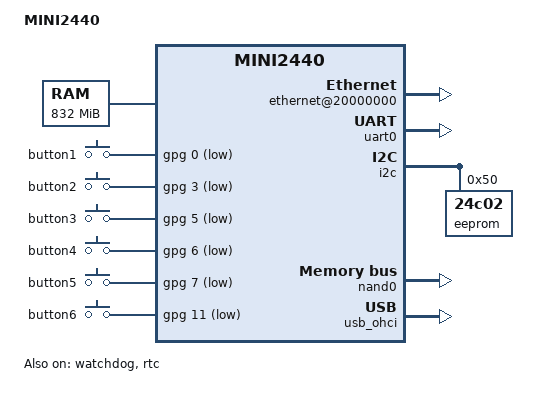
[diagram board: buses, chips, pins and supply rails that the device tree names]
/*
 * SAMSUNG MINI2440 board device tree source
 */

/dts-v1/;
#include "s3c2440.dtsi"
#include <dt-bindings/gpio/gpio.h>
#include <dt-bindings/input/input.h>
#include <dt-bindings/interrupt-controller/irq.h>

/ {
	model = "MINI2440";
	compatible = "samsung,s3c2440", "samsung,mini2440";

	memory {
		reg =  <0x30000000 0x34000000>;
	};

	chosen {
		bootargs = "noinitrd root=/dev/mtdblock3 init=/linuxrc console=ttySAC0,115200 ignore_loglevel earlyprintk";
	};
	srom-cs4@20000000 {
		compatible = "simple-bus";
		#address-cells = <1>;
		#size-cells = <1>;
		reg = <0x20000000 0x8000000>;
		ranges;

		ethernet@20000000 {
			compatible = "davicom,dm9000";
			reg = <0x20000000 0x2 0x20000004 0x2>;
			interrupt-parent = <&gpf>;
			interrupts = <7 IRQ_TYPE_EDGE_RISING>;
			local-mac-address = [00 00 de ad be ef];
			davicom,no-eeprom;
		};
	};
	gpio-keys{
	    compatible = "gpio-keys";
            #address-cells = <1>;
            #size-cells = <0>;
		
            button1{
	        label = "button1";
                gpios = <&gpg 0 GPIO_ACTIVE_LOW>;
                linux,code = <KEY_1>;
                gpio-key,wakeup;
            };
            button2{
	        label = "button2";
                gpios = <&gpg 3 GPIO_ACTIVE_LOW>;
                linux,code = <KEY_2>;
                gpio-key,wakeup;
            };
            button3{
	        label = "button3";
                gpios = <&gpg 5 GPIO_ACTIVE_LOW>;
                linux,code = <KEY_3>;
                gpio-key,wakeup;
            };
            button4{
                label = "button4";
		gpios = <&gpg 6 GPIO_ACTIVE_LOW>;
		linux,code = <KEY_4>;
		gpio-key,wakeup;
            };
            button5{
                label = "button5";
		gpios = <&gpg 7 GPIO_ACTIVE_LOW>;
		linux,code = <KEY_5>;
		gpio-key,wakeup;
            };
            button6{
	        label = "button6";
                gpios = <&gpg 11 GPIO_ACTIVE_LOW>;
	        linux,code = <KEY_6>;
                gpio-key,wakeup;
            };
	};
};

&watchdog {
	status = "okay";
};

&rtc {
	status = "okay";
};

&uart0 {
	status = "okay";
};

&i2c {
	status = "okay";
	samsung,i2c-max-bus-freq = <200000>;

	eeprom@50 {
		compatible = "24c02";
		reg = <0x50>;
		pagesize = <32>;
		status = "okay";
	};
};

&nand0 {
	status = "okay";
	nand,tacls = <0xa>;
	nand,twrph0 = <0x19>;
	nand,twrph1 = <0xa>;

	#address-cells = <1>;
	#size-cells = <1>;

	partitions {
		/* MTD partition table */
		#address-cells = <1>;
		#size-cells = <1>;
		nr-chips = <1>;
		set-name = "mini2440-0";

		partition@0 {
			label = "SPL";
			reg = <0x0000000 0x100000>;
			read-only;
		};

		partition@100000 {
			label = "U-BOOT";
			reg = <0x0100000 0x100000>;
			read-only;
		};

		partition@200000 {
			label = "PARAMS";
			reg = <0x0200000 0x100000>;
			read-only;
		};

		partition@300000 {
			label = "KERNEL";
			reg = <0x300000 0x500000>;
			read-only;
		};

		partition@600000 {
			label = "DTB";
			reg = <0x800000 0x100000>;
			read-only;
		};

		partition@700000 {
			label = "ROOTFS";
			reg = <0x900000 0x0>;
		};
	};
};

&usb_ohci {
	status = "okay";
};
